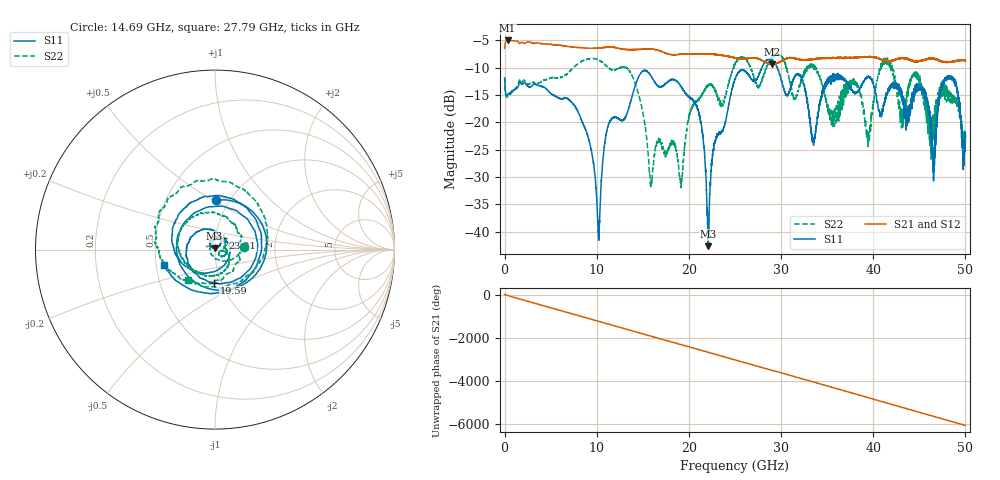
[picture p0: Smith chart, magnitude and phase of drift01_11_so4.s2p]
!Created with skrf (http://scikit-rf.org).
# Hz S RI R 50.0
!freq ReS11 ImS11 ReS21 ImS21 ReS12 ImS12 ReS22 ImS22
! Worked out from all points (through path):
!   10001 points, 300 kHz to 50 GHz, reference 50 ohm
!   highest |S21| = -5.05 dB at 325.3 MHz (marker M1); lowest = -9.4 dB at 29 GHz (marker M2)
!   group delay of S21, straight-line fit = 336 ps
!   lowest |S11| = -42.6 dB at 22.11 GHz (marker M3), VSWR 1.01, Z = 49.7 + j0.682 ohm
!   |S11| at or under -10 dB: start of sweep to 27.92 GHz; 27.92301 GHz to 27.92601 GHz (3.002 MHz wide, 0.0108 % of centre); 29.58 GHz to end of sweep
!   |S22| runs from -31.9 to -7.5 dB; largest |S21 - S12| = 0.012
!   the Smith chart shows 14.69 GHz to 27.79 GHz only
!   S11 on the Smith chart (normalised r, x): 14.69 GHz: 0.87, +0.52; 19.59 GHz: 0.92, -0.35; 23.21 GHz: 1.09, +0.14; 27.79 GHz: 0.55, -0.10
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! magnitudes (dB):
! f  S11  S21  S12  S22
! 300 kHz  -12.0  -6.5  -6.6  -11.8
! 325.3 MHz  -15.0  -5.1  -5.1  -15.3
! 8.335 GHz  -19.6  -6.4  -6.4  -8.9
! 10.2 GHz  -41.0  -6.4  -6.4  -8.6
! 11.23 GHz  -20.6  -6.3  -6.3  -10.0
! 14.69 GHz  -11.2  -6.7  -6.7  -15.9
! 15.87 GHz  -11.5  -6.6  -6.6  -31.5
! 16.67 GHz  -13.4  -6.9  -6.9  -23.2
! 19.59 GHz  -14.7  -7.5  -7.5  -23.6
! 21.2 GHz  -19.0  -7.5  -7.5  -15.6
! 22.11 GHz  -42.6  -7.5  -7.5  -13.3
! 23.21 GHz  -22.2  -7.7  -7.7  -15.8
! 25 GHz  -12.1  -8.2  -8.3  -9.5
! 27.79 GHz  -10.5  -8.6  -8.6  -12.8
! 29 GHz  -8.6  -9.4  -9.4  -8.2
! 33.34 GHz  -22.3  -8.5  -8.5  -9.6
! 39.47 GHz  -11.6  -8.1  -8.1  -22.5
! 41.67 GHz  -14.0  -8.8  -8.8  -9.0
! 45.35 GHz  -14.1  -8.7  -8.7  -14.3
! 46.56 GHz  -26.5  -8.4  -8.3  -21.4
! 48.49 GHz  -11.6  -8.9  -9.0  -15.8
! 50 GHz  -22.8  -8.8  -8.7  -22.7
